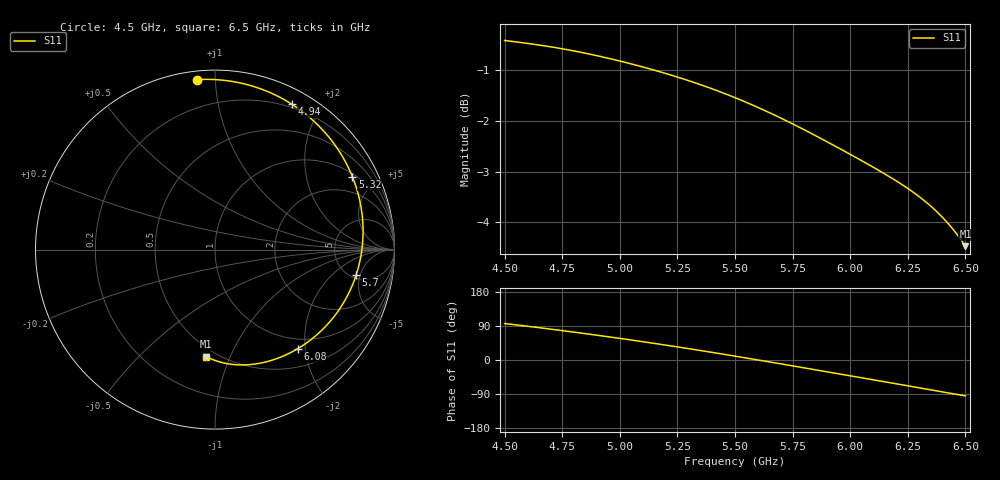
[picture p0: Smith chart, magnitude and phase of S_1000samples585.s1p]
! TOUCHSTONE file generated by CST MICROWAVE STUDIO
! Date and time: Fri Oct 28 16:45:42 2022
! Project name: L.cst
! Parameters = {Di=1.27; Epsilon_r=1.56; InnerDiameter=1.27; Length=2; Lf=10; Lg=60; OuterConductorThickness=0.2921; OuterDiameter=3.6; Wf=3; Wp=41.2; de=1.5; df=6.8; g=0.8; gx=3.19636; gy=4.9029; h=2.34; hf=1.524; px=11.7776; py=14.1792; w=9.7; wx=8.58124; wy=9.27635}
! Header version: 2018
! Port assignment regex: !\s*Touchstone port\s*([0-9]+)\s*=\s*(CST MWS port|CST DS port)\s*([0-9]+|Zmin|Zmax)\s*\(\"(.*)\"\)(\s*mode\s*([0-9]+))?.*
! Touchstone port assignment:
! Touchstone port 1 = CST MWS port 1 ("")
# GHz S DB R 50
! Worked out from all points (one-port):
!   101 points, 4.5 GHz to 6.5 GHz, reference 50 ohm
!   lowest |S11| = -4.5 dB at 6.5 GHz (marker M1), VSWR 3.97, Z = 22.1 - j40.9 ohm
!   |S11| at or under -10 dB: nowhere
!   S11 on the Smith chart (normalised r, x): 4.5 GHz: 0.04, +0.90; 4.94 GHz: 0.16, +1.65; 5.32 GHz: 1.14, +3.70; 5.7 GHz: 5.45, -4.32; 6.08 GHz: 0.81, -1.85; 6.5 GHz: 0.44, -0.82
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4.5  -0.42 96.2
4.58  -0.47 90.4
4.64  -0.51 86.0
4.7  -0.55 81.4
4.76  -0.59 76.8
4.84  -0.66 70.4
4.94  -0.76 62.1
5  -0.83 57.0
5.12  -0.97 46.5
5.2  -1.07 39.2
5.26  -1.16 33.6
5.32  -1.24 27.9
5.42  -1.41 18.2
5.5  -1.55 10.2
5.6  -1.74 -0.0
5.7  -1.95 -10.3
5.76  -2.09 -16.6
5.82  -2.22 -22.9
5.88  -2.37 -29.2
5.94  -2.51 -35.5
6  -2.66 -41.8
6.08  -2.86 -50.2
6.18  -3.13 -60.7
6.26  -3.36 -69.2
6.32  -3.57 -75.6
6.38  -3.81 -82.0
6.44  -4.10 -88.4
6.5  -4.47 -94.7
